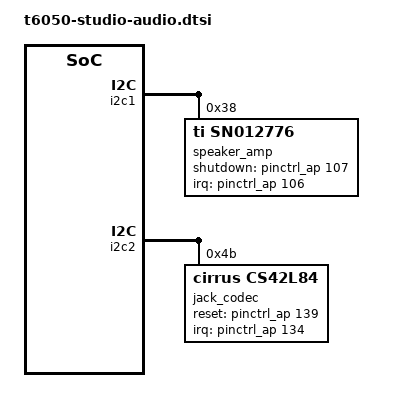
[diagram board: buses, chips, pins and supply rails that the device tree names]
// SPDX-License-Identifier: GPL-2.0+ OR MIT
/*
 * The audio of the M5 Mac Studio (J775c, J775d): the headphone jack (a
 * CS42L84) and the built-in speaker (one SN012776), both reached through the
 * AOP's audio services. The card waits for its CPU component, the AOP audio
 * node, which exists only after the boot loader's AOP handoff.
 *
 * The speaker has no protection model: no voltage or current sense from it
 * has been seen to reach the AP on these machines, so nothing could govern it.
 * macaudio keeps it at or below the -20 dB safe level in every state instead
 * (spk_fixed_ceiling), and no protection daemon takes it.
 *
 * The board sets the card's compatible and model.
 *
 * Copyright The Asahi Linux Contributors
 */

/ {
	sound: sound {
		#address-cells = <1>;
		#size-cells = <0>;

		dai-link@0 {
			reg = <0>;
			link-name = "Headphone Jack";

			cpu {
				sound-dai = <&aop_audio 0>;
			};

			codec {
				sound-dai = <&jack_codec>;
			};
		};

		dai-link@1 {
			reg = <1>;
			link-name = "Speaker";

			cpu {
				sound-dai = <&aop_audio 3>;
			};

			codec {
				sound-dai = <&speaker_amp>;
			};
		};
	};
};

/* Amp IRQ 106 and shutdown 107; jack IRQ 134 and codec reset 139 (pinctrl_ap) */
&i2c1 {
	/*
	 * ADT speaker-config: playback slot 0, V sense in slot 0 and I sense in
	 * slot 2. The firmware's speaker frame is 250 BCLKs of 12 MHz (ADT
	 * iop-audio-controller/audio-speaker), which the amp's ratio detection
	 * rejects, so the amp is told the ratio.
	 */
	speaker_amp: codec@38 {
		compatible = "ti,sn012776", "ti,tas2764";
		reg = <0x38>;
		shutdown-gpios = <&pinctrl_ap 107 GPIO_ACTIVE_HIGH>;
		interrupts-extended = <&pinctrl_ap 106 IRQ_TYPE_LEVEL_LOW>;
		#sound-dai-cells = <0>;
		ti,imon-slot-no = <2>;
		ti,vmon-slot-no = <0>;
		ti,bclk-ratio = <250>;
	};
};

&i2c2 {
	jack_codec: codec@4b {
		compatible = "cirrus,cs42l84";
		reg = <0x4b>;
		reset-gpios = <&pinctrl_ap 139 GPIO_ACTIVE_HIGH>;
		interrupts-extended = <&pinctrl_ap 134 IRQ_TYPE_LEVEL_LOW>;
		#sound-dai-cells = <0>;
		sound-name-prefix = "Jack";
	};
};
